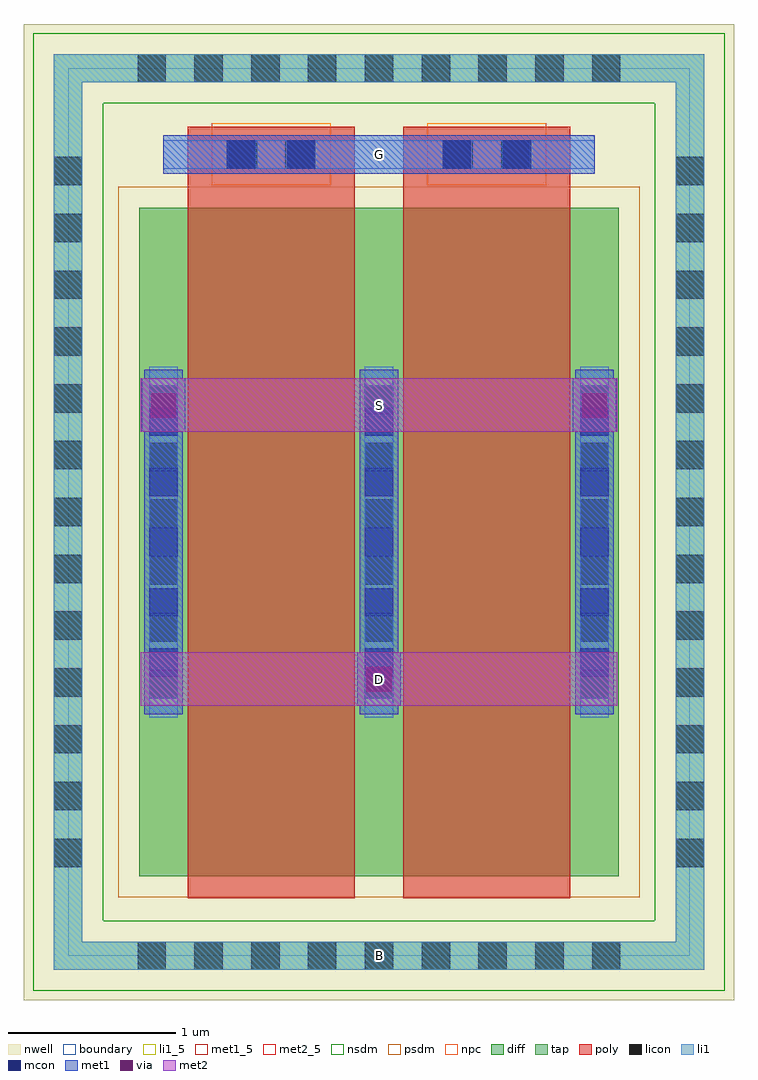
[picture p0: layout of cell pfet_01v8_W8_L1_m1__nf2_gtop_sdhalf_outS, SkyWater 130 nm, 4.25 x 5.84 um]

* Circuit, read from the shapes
.subckt pfet_01v8_W8_L1_m1__nf2_gtop_sdhalf_outS B D G S
XM1 D G S B sky130_fd_pr__pfet_01v8 w=4 l=1 m=2
.ends

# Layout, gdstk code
import gdstk
lib = gdstk.Library(unit=1e-6, precision=1e-09)
def R(c, l, rs):  # rectangles x0, y0, x1, y1
    for r in rs: c.add(gdstk.rectangle(r[:2], r[2:], *l))
def A(c, l, x, y, w, h, nx, ny, dx, dy):  # array of equal rectangles
    R(c, l, [(x+i*dx, y+j*dy, x+i*dx+w, y+j*dy+h) for i in range(nx) for j in range(ny)])
nwell = (64, 20)
diff = (65, 20)
tap = (65, 44)
poly = (66, 20)
licon = (66, 44)
li1_5 = (67, 5)
li1 = (67, 20)
mcon = (67, 44)
met1_5 = (68, 5)
met1 = (68, 20)
via = (68, 44)
met2_5 = (69, 5)
met2 = (69, 20)
nsdm = (93, 44)
psdm = (94, 20)
npc = (95, 20)
boundary = (235, 4)

sky130_fd_pr__pfet_01v8_ = lib.new_cell('sky130_fd_pr__pfet_01v8_CUJVU7')
R(sky130_fd_pr__pfet_01v8_, nwell, [(-2.125,-2.92,2.125,2.92)])
R(sky130_fd_pr__pfet_01v8_, diff, [(-1.435,-2.18,1.435,1.82)])
R(sky130_fd_pr__pfet_01v8_, tap, [(-1.945,-2.74,1.945,-2.57), (-1.945,-2.57,-1.775,2.57), (1.775,-2.57,1.945,2.57), (-1.945,2.57,1.945,2.74)])
R(sky130_fd_pr__pfet_01v8_, poly, [(-1.145,-2.31,-0.145,2.305), (0.145,-2.31,1.145,2.305)])
A(sky130_fd_pr__pfet_01v8_, licon, -1.445, -2.74, 0.17, 0.17, 9, 2, 0.34, 5.31)
A(sky130_fd_pr__pfet_01v8_, licon, -1.945, -2.125, 0.17, 0.17, 1, 13, 0, 0.34)
A(sky130_fd_pr__pfet_01v8_, licon, 1.775, -2.125, 0.17, 0.17, 1, 13, 0, 0.34)
A(sky130_fd_pr__pfet_01v8_, licon, -1.375, -1.115, 0.17, 0.17, 3, 6, 1.29, 0.34)
R(sky130_fd_pr__pfet_01v8_, licon, [(-0.9,2.055,-0.73,2.225), (-0.56,2.055,-0.39,2.225), (0.39,2.055,0.56,2.225), (0.73,2.055,0.9,2.225)])
A(sky130_fd_pr__pfet_01v8_, li1, -1.375, -1.23, 0.17, 2.1, 3, 1, 1.29, 0)
R(sky130_fd_pr__pfet_01v8_, li1, [(-1.945,-2.74,1.945,-2.57), (-1.945,-2.57,-1.775,2.57), (1.775,-2.57,1.945,2.57), (-1.29,2.055,1.29,2.225), (-1.945,2.57,1.945,2.74)])
A(sky130_fd_pr__pfet_01v8_, mcon, -1.375, -0.985, 0.17, 0.17, 3, 5, 1.29, 0.36)
R(sky130_fd_pr__pfet_01v8_, mcon, [(-0.91,2.055,-0.74,2.225), (-0.55,2.055,-0.38,2.225), (0.38,2.055,0.55,2.225), (0.74,2.055,0.91,2.225)])
A(sky130_fd_pr__pfet_01v8_, met1, -1.405, -1.21, 0.23, 2.06, 3, 1, 1.29, 0)
R(sky130_fd_pr__pfet_01v8_, met1, [(-1.125,2.025,-0.165,2.055), (0.165,2.025,1.125,2.055), (-1.29,2.055,1.29,2.225), (-1.125,2.225,-0.165,2.255), (0.165,2.225,1.125,2.255)])
R(sky130_fd_pr__pfet_01v8_, nsdm, [(-2.07,-2.865,2.07,-2.445), (-2.07,-2.445,-1.65,2.445), (1.65,-2.445,2.07,2.445), (-2.07,2.445,2.07,2.865)])
R(sky130_fd_pr__pfet_01v8_, psdm, [(-1.56,-2.305,1.56,1.945)])
R(sky130_fd_pr__pfet_01v8_, npc, [(-1,1.955,-0.29,2.325), (0.29,1.955,1,2.325)])
R(sky130_fd_pr__pfet_01v8_, boundary, [(-1.86,-2.655,1.86,2.655)])
sky130_fd_pr__pfet_01v8_.add(gdstk.Label('B', (0,-2.655), layer=67, texttype=5))
sky130_fd_pr__pfet_01v8_.add(gdstk.Label('D0', (-1.29,-0.18), layer=67, texttype=5))
sky130_fd_pr__pfet_01v8_.add(gdstk.Label('G', (0.645,2.14), layer=67, texttype=5))
sky130_fd_pr__pfet_01v8_.add(gdstk.Label('G', (-0.645,2.14), layer=67, texttype=5))
sky130_fd_pr__pfet_01v8_.add(gdstk.Label('S1', (0,-0.18), layer=67, texttype=5))

pfet_01v8_w8_l1_m1__nf2_ = lib.new_cell('pfet_01v8_W8_L1_m1__nf2_gtop_sdhalf_outS')
R(pfet_01v8_w8_l1_m1__nf2_, li1_5, [(1.775,-0.085,1.945,0.085)])
R(pfet_01v8_w8_l1_m1__nf2_, li1, [(1.775,-0.085,1.945,0.085)])
R(pfet_01v8_w8_l1_m1__nf2_, met1_5, [(0.57,4.68,3.15,4.91)])
R(pfet_01v8_w8_l1_m1__nf2_, met1, [(1.73,1.495,1.99,1.815), (0.44,3.135,0.7,3.455), (3.02,3.135,3.28,3.455), (0.57,4.68,3.15,4.91)])
R(pfet_01v8_w8_l1_m1__nf2_, via, [(1.785,1.58,1.935,1.73), (0.495,3.22,0.645,3.37), (3.075,3.22,3.225,3.37)])
R(pfet_01v8_w8_l1_m1__nf2_, met2_5, [(0.435,1.495,3.285,1.815), (0.435,3.135,3.285,3.455)])
R(pfet_01v8_w8_l1_m1__nf2_, met2, [(0.435,1.495,3.285,1.815), (0.435,3.135,3.285,3.455)])
pfet_01v8_w8_l1_m1__nf2_.add(gdstk.Reference(sky130_fd_pr__pfet_01v8_, (1.86,2.655)))
pfet_01v8_w8_l1_m1__nf2_.add(gdstk.Label('S', (1.86,3.295), layer=69, texttype=5))
pfet_01v8_w8_l1_m1__nf2_.add(gdstk.Label('D', (1.86,1.655), layer=69, texttype=5))
pfet_01v8_w8_l1_m1__nf2_.add(gdstk.Label('G', (1.86,4.795), layer=68, texttype=5))
pfet_01v8_w8_l1_m1__nf2_.add(gdstk.Label('B', (1.86,0), layer=67, texttype=5))

lib.write_gds('pfet_01v8_W8_L1_m1__nf2_gtop_sdhalf_outS.gds')
